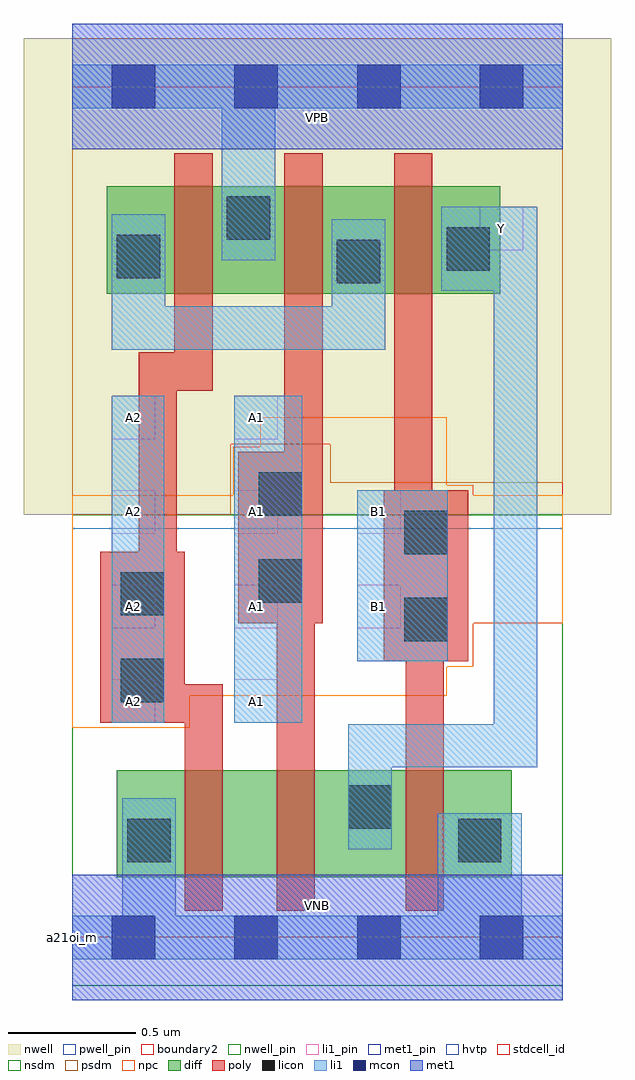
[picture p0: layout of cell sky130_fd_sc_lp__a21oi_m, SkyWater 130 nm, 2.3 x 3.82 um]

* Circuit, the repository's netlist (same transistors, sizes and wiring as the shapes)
* Copyright 2020 The SkyWater PDK Authors
*
* Licensed under the Apache License, Version 2.0 (the "License");
* you may not use this file except in compliance with the License.
* You may obtain a copy of the License at
*
*     https://www.apache.org/licenses/LICENSE-2.0
*
* Unless required by applicable law or agreed to in writing, software
* distributed under the License is distributed on an "AS IS" BASIS,
* WITHOUT WARRANTIES OR CONDITIONS OF ANY KIND, either express or implied.
* See the License for the specific language governing permissions and
* limitations under the License.
*
* SPDX-License-Identifier: Apache-2.0

.SUBCKT sky130_fd_sc_lp__a21oi_m A1 A2 B1 VGND VNB VPB VPWR Y
*.PININFO A1:I A2:I B1:I VGND:I VNB:I VPB:I VPWR:I Y:O
MMPA0 pndA A1 VPWR VPB sky130_fd_pr__pfet_01v8_hvt m=1 w=0.42U l=0.15U mult=1 sa=0.265
+ sb=0.265 sd=0.28 area=0.063 perim=1.14
MMPA1 pndA A2 VPWR VPB sky130_fd_pr__pfet_01v8_hvt m=1 w=0.42U l=0.15U mult=1 sa=0.265
+ sb=0.265 sd=0.28 area=0.063 perim=1.14
MMPB0 Y B1 pndA VPB sky130_fd_pr__pfet_01v8_hvt m=1 w=0.42U l=0.15U mult=1 sa=0.265
+ sb=0.265 sd=0.28 area=0.063 perim=1.14
MMNA0 Y A1 sndA1 VNB sky130_fd_pr__nfet_01v8 m=1 w=0.42U l=0.15U mult=1 sa=0.265
+ sb=0.265 sd=0.28 area=0.063 perim=1.14
MMNA1 sndA1 A2 VGND VNB sky130_fd_pr__nfet_01v8 m=1 w=0.42U l=0.15U mult=1 sa=0.265
+ sb=0.265 sd=0.28 area=0.063 perim=1.14
MMNB0 Y B1 VGND VNB sky130_fd_pr__nfet_01v8 m=1 w=0.42U l=0.15U mult=1 sa=0.265
+ sb=0.265 sd=0.28 area=0.063 perim=1.14
.ENDS sky130_fd_sc_lp__a21oi_m

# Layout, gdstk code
import gdstk
lib = gdstk.Library(unit=1e-6, precision=1e-09)
def R(c, l, rs):  # rectangles x0, y0, x1, y1
    for r in rs: c.add(gdstk.rectangle(r[:2], r[2:], *l))
def A(c, l, x, y, w, h, nx, ny, dx, dy):  # array of equal rectangles
    R(c, l, [(x+i*dx, y+j*dy, x+i*dx+w, y+j*dy+h) for i in range(nx) for j in range(ny)])
def P(c, l, *ps):  # polygons
    for p in ps: c.add(gdstk.Polygon(p, *l))
nwell_pin = (64, 16)
nwell = (64, 20)
diff = (65, 20)
poly = (66, 20)
licon = (66, 44)
li1_pin = (67, 16)
li1 = (67, 20)
mcon = (67, 44)
met1_pin = (68, 16)
met1 = (68, 20)
hvtp = (78, 44)
stdcell_id = (81, 4)
nsdm = (93, 44)
psdm = (94, 20)
npc = (95, 20)
pwell_pin = (122, 16)
boundary2 = (236, 0)

sky130_fd_sc_lp__a21oi_m = lib.new_cell('sky130_fd_sc_lp__a21oi_m')
R(sky130_fd_sc_lp__a21oi_m, nwell_pin, [(0,3.085,1.92,3.33)])
R(sky130_fd_sc_lp__a21oi_m, nwell, [(-0.19,1.655,2.11,3.52)])
R(sky130_fd_sc_lp__a21oi_m, diff, [(0.175,0.235,1.72,0.655), (0.135,2.52,1.675,2.94)])
P(sky130_fd_sc_lp__a21oi_m, poly, [(0.59,0.99),(0.44,0.99),(0.44,1.51),(0.41,1.51),(0.41,2.14),(0.55,2.14),(0.55,3.07),(0.4,3.07),(0.4,2.29),(0.26,2.29),(0.26,1.51),(0.11,1.51),(0.11,0.84),(0.44,0.84),(0.44,0.105),(0.59,0.105)],
  [(0.98,3.07),(0.83,3.07),(0.83,1.9),(0.65,1.9),(0.65,1.23),(0.8,1.23),(0.8,0.105),(0.95,0.105),(0.95,1.23),(0.98,1.23)],
  [(1.55,1.75),(1.41,1.75),(1.41,3.07),(1.26,3.07),(1.26,1.75),(1.22,1.75),(1.22,1.08),(1.305,1.08),(1.305,0.105),(1.455,0.105),(1.455,1.08),(1.55,1.08)])
R(sky130_fd_sc_lp__a21oi_m, licon, [(0.215,0.295,0.385,0.465), (1.51,0.295,1.68,0.465), (1.08,0.425,1.25,0.595), (0.19,0.92,0.36,1.09), (1.3,1.16,1.47,1.33), (0.19,1.26,0.36,1.43), (0.73,1.31,0.9,1.48), (1.3,1.5,1.47,1.67), (0.73,1.65,0.9,1.82), (1.035,2.56,1.205,2.73), (0.175,2.58,0.345,2.75), (1.465,2.61,1.635,2.78), (0.605,2.73,0.775,2.9)])
A(sky130_fd_sc_lp__a21oi_m, li1_pin, 0.155, 1.21, 0.17, 0.17, 3, 2, 0.48, 0.37)
R(sky130_fd_sc_lp__a21oi_m, li1_pin, [(0.155,0.84,0.325,1.01), (0.635,0.84,0.805,1.01), (0.155,1.95,0.325,2.12), (0.635,1.95,0.805,2.12), (1.595,2.69,1.765,2.86)])
R(sky130_fd_sc_lp__a21oi_m, li1, [(0.155,0.84,0.36,2.12), (0.635,0.84,0.9,2.12), (1.115,1.08,1.47,1.75)])
P(sky130_fd_sc_lp__a21oi_m, li1, [(0.585,2.65),(0.585,3.245),(0,3.245),(0,3.415),(1.92,3.415),(1.92,3.245),(0.795,3.245),(0.795,2.65)],
  [(0.195,0.085),(0.195,0.545),(0.405,0.545),(0.405,0.085),(1.43,0.085),(1.43,0.485),(1.76,0.485),(1.76,0.085),(1.92,0.085),(1.92,-0.085),(0,-0.085),(0,0.085)],
  [(1.82,2.86),(1.82,0.665),(1.25,0.665),(1.25,0.345),(1.08,0.345),(1.08,0.835),(1.65,0.835),(1.65,2.53),(1.445,2.53),(1.445,2.86)],
  [(0.155,2.3),(0.155,2.83),(0.365,2.83),(0.365,2.47),(1.015,2.47),(1.015,2.81),(1.225,2.81),(1.225,2.3)])
A(sky130_fd_sc_lp__a21oi_m, mcon, 0.155, -0.085, 0.17, 0.17, 4, 2, 0.48, 3.33)
R(sky130_fd_sc_lp__a21oi_m, met1_pin, [(0,0,1.92,0.245), (0,3.085,1.92,3.33)])
R(sky130_fd_sc_lp__a21oi_m, met1, [(0,-0.245,1.92,0.245), (0,3.085,1.92,3.575)])
R(sky130_fd_sc_lp__a21oi_m, hvtp, [(0,1.6,1.92,3.33)])
R(sky130_fd_sc_lp__a21oi_m, stdcell_id, [(0,0,1.92,3.33)])
R(sky130_fd_sc_lp__a21oi_m, nsdm, [(0,-0.19,1.92,1.655)])
P(sky130_fd_sc_lp__a21oi_m, psdm, [(1.92,3.52),(0,3.52),(0,1.655),(0.62,1.655),(0.62,1.93),(1.01,1.93),(1.01,1.78),(1.92,1.78)])
P(sky130_fd_sc_lp__a21oi_m, npc, [(1.92,1.73),(1.57,1.73),(1.57,1.77),(1.465,1.77),(1.465,2.035),(0.735,2.035),(0.735,1.92),(0.63,1.92),(0.63,1.73),(0,1.73),(0,0.82),(0.46,0.82),(0.46,0.945),(1.465,0.945),(1.465,1.06),(1.57,1.06),(1.57,1.23),(1.92,1.23)])
R(sky130_fd_sc_lp__a21oi_m, pwell_pin, [(0,0,1.92,0.245)])
R(sky130_fd_sc_lp__a21oi_m, boundary2, [(0,0,1.92,3.33)])
sky130_fd_sc_lp__a21oi_m.add(gdstk.Label('VNB', (0.96,0.123), layer=64, texttype=59))
sky130_fd_sc_lp__a21oi_m.add(gdstk.Label('VPB', (0.96,3.208), layer=64, texttype=5))
sky130_fd_sc_lp__a21oi_m.add(gdstk.Label('a21oi_m', (0,0), layer=83, texttype=44))
sky130_fd_sc_lp__a21oi_m.add(gdstk.Label('VPWR', (0.96,3.208), layer=68, texttype=5))
sky130_fd_sc_lp__a21oi_m.add(gdstk.Label('VGND', (0.96,0.123), layer=68, texttype=5))
sky130_fd_sc_lp__a21oi_m.add(gdstk.Label('A1', (0.72,0.925), layer=67, texttype=5))
sky130_fd_sc_lp__a21oi_m.add(gdstk.Label('A1', (0.72,1.295), layer=67, texttype=5))
sky130_fd_sc_lp__a21oi_m.add(gdstk.Label('A1', (0.72,1.665), layer=67, texttype=5))
sky130_fd_sc_lp__a21oi_m.add(gdstk.Label('A1', (0.72,2.035), layer=67, texttype=5))
sky130_fd_sc_lp__a21oi_m.add(gdstk.Label('B1', (1.2,1.295), layer=67, texttype=5))
sky130_fd_sc_lp__a21oi_m.add(gdstk.Label('B1', (1.2,1.665), layer=67, texttype=5))
sky130_fd_sc_lp__a21oi_m.add(gdstk.Label('Y', (1.68,2.775), layer=67, texttype=5))
sky130_fd_sc_lp__a21oi_m.add(gdstk.Label('A2', (0.24,0.925), layer=67, texttype=5))
sky130_fd_sc_lp__a21oi_m.add(gdstk.Label('A2', (0.24,1.295), layer=67, texttype=5))
sky130_fd_sc_lp__a21oi_m.add(gdstk.Label('A2', (0.24,1.665), layer=67, texttype=5))
sky130_fd_sc_lp__a21oi_m.add(gdstk.Label('A2', (0.24,2.035), layer=67, texttype=5))

lib.write_gds('sky130_fd_sc_lp__a21oi_m.gds')
